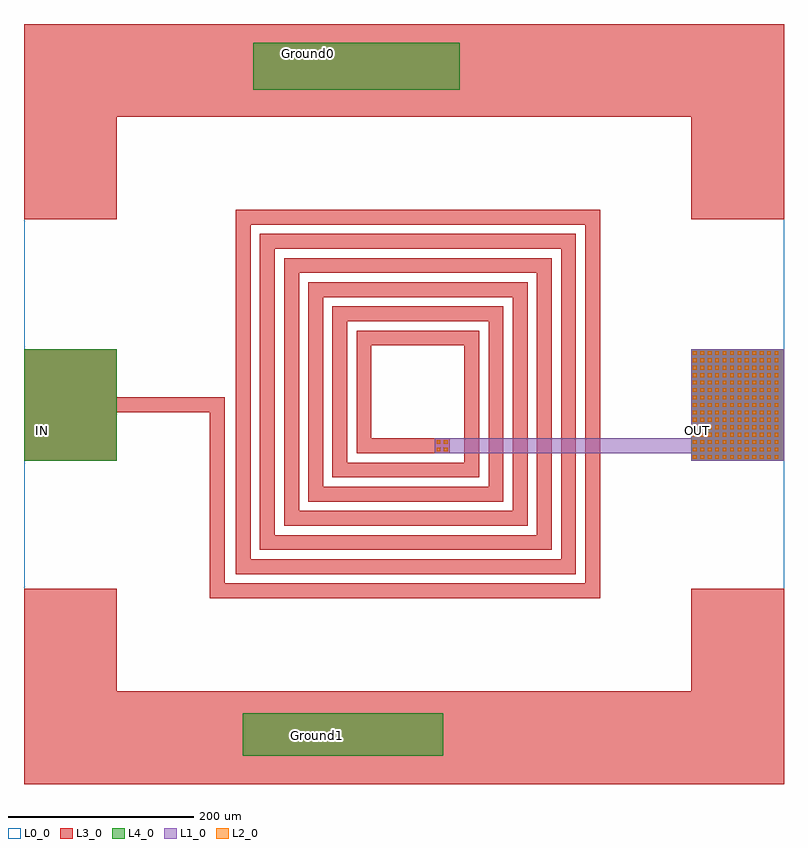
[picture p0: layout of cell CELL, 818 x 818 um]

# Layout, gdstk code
import gdstk
lib = gdstk.Library(unit=1e-6, precision=1e-09)
def R(c, l, rs):  # rectangles x0, y0, x1, y1
    for r in rs: c.add(gdstk.rectangle(r[:2], r[2:], *l))
def A(c, l, x, y, w, h, nx, ny, dx, dy):  # array of equal rectangles
    R(c, l, [(x+i*dx, y+j*dy, x+i*dx+w, y+j*dy+h) for i in range(nx) for j in range(ny)])
def P(c, l, *ps):  # polygons
    for p in ps: c.add(gdstk.Polygon(p, *l))
L0_0 = (0, 0)
L1_0 = (1, 0)
L2_0 = (2, 0)
L3_0 = (3, 0)
L4_0 = (4, 0)

cell = lib.new_cell('CELL')
R(cell, L0_0, [(0,0,818,818)])
P(cell, L1_0, [(718,372),(442,372),(442,356),(718,356),(718,348),(818,348),(818,468),(718,468)])
A(cell, L2_0, 720, 350, 4, 4, 12, 15, 8, 8)
R(cell, L2_0, [(444,358,448,362), (452,358,456,362), (444,366,448,370), (452,366,456,370)])
R(cell, L3_0, [(718,348,818,468)])
P(cell, L3_0, [(100,348),(100,400),(200,400),(200,200),(620,200),(620,618),(228,618),(228,226),(594,226),(594,592),(254,592),(254,252),(568,252),(568,566),(280,566),(280,278),(542,278),(542,540),(306,540),(306,304),(516,304),(516,514),(332,514),(332,330),(490,330),(490,488),(358,488),(358,356),(458,356),(458,372),(374,372),(374,472),(474,472),(474,346),(348,346),(348,498),(500,498),(500,320),(322,320),(322,524),(526,524),(526,294),(296,294),(296,550),(552,550),(552,268),(270,268),(270,576),(578,576),(578,242),(244,242),(244,602),(604,602),(604,216),(216,216),(216,416),(100,416),(100,468),(0,468),(0,348)],
  [(718,210),(718,100),(100,100),(100,210),(0,210),(0,0),(818,0),(818,210)],
  [(0,818),(0,608),(100,608),(100,718),(718,718),(718,608),(818,608),(818,818)])
R(cell, L4_0, [(235.3,30.2,451.5,76), (0,348,100,468), (718,348,818,468), (246.8,747.1,469.2,798)])
cell.add(gdstk.Label('IN', (20,380), layer=4, texttype=0))
cell.add(gdstk.Label('OUT', (725,380), layer=4, texttype=0))
cell.add(gdstk.Label('Ground1', (315.4,51.8), layer=4, texttype=0))
cell.add(gdstk.Label('Ground0', (306.5,786.5), layer=4, texttype=0))

lib.write_gds('CELL.gds')
